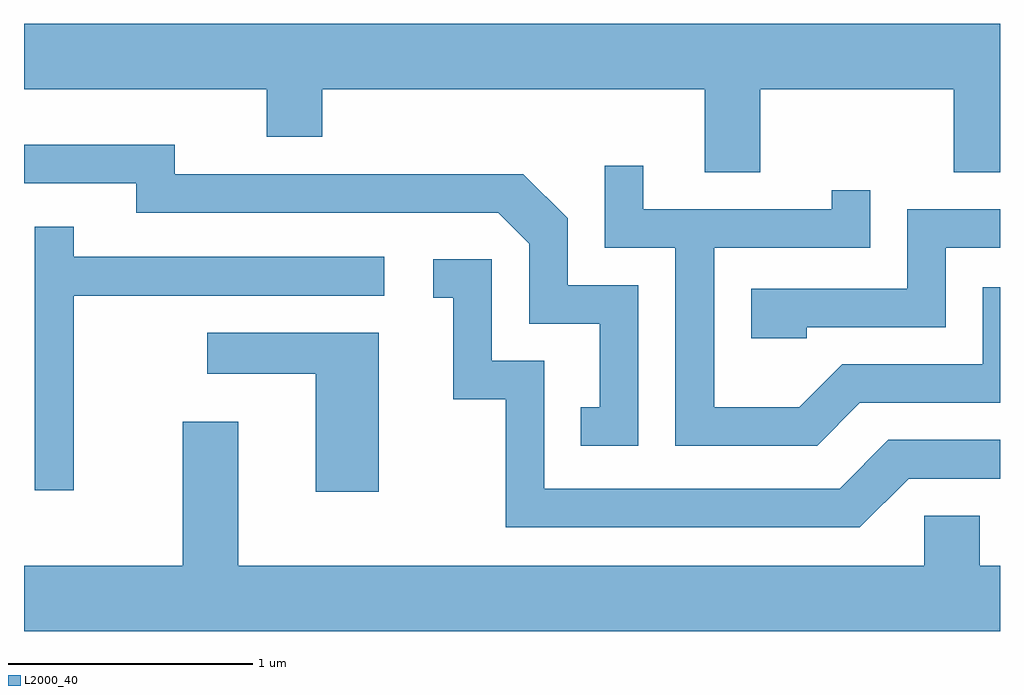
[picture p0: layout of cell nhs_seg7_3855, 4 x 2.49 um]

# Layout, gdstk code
import gdstk
lib = gdstk.Library(unit=1e-6, precision=1e-09)
def P(c, l, *ps):  # polygons
    for p in ps: c.add(gdstk.Polygon(p, *l))
L2000_40 = (2000, 40)

nhs_seg7_3855 = lib.new_cell('nhs_seg7_3855')
P(nhs_seg7_3855, L2000_40, [(306.629,1700.996),(307.421,1700.996),(307.421,1700.656),(307.611,1700.656),(307.611,1701.264),(303.611,1701.264),(303.611,1700.996),(304.606,1700.996),(304.606,1700.801),(304.834,1700.801),(304.834,1700.996),(306.401,1700.996),(306.401,1700.656),(306.629,1700.656)],
  [(306.129,1700.194),(305.839,1700.194),(305.839,1700.467),(305.657,1700.649),(304.229,1700.649),(304.229,1700.769),(303.611,1700.769),(303.611,1700.611),(304.071,1700.611),(304.071,1700.491),(305.554,1700.491),(305.681,1700.364),(305.681,1700.036),(305.971,1700.036),(305.971,1699.694),(305.893,1699.694),(305.893,1699.536),(306.129,1699.536)],
  [(307.037,1699.711),(307.611,1699.711),(307.611,1700.184),(307.541,1700.184),(307.541,1699.869),(306.964,1699.869),(306.789,1699.694),(306.439,1699.694),(306.439,1700.346),(307.079,1700.346),(307.079,1700.583),(306.921,1700.583),(306.921,1700.504),(306.149,1700.504),(306.149,1700.683),(305.991,1700.683),(305.991,1700.346),(306.281,1700.346),(306.281,1699.536),(306.862,1699.536)],
  [(306.819,1700.021),(307.389,1700.021),(307.389,1700.346),(307.611,1700.346),(307.611,1700.504),(307.231,1700.504),(307.231,1700.179),(306.591,1700.179),(306.591,1699.976),(306.819,1699.976)],
  [(303.814,1700.151),(305.088,1700.151),(305.088,1700.309),(303.814,1700.309),(303.814,1700.433),(303.656,1700.433),(303.656,1699.353),(303.814,1699.353)],
  [(307.237,1699.401),(307.611,1699.401),(307.611,1699.559),(307.154,1699.559),(306.954,1699.359),(305.744,1699.359),(305.744,1699.884),(305.529,1699.884),(305.529,1700.299),(305.288,1700.299),(305.288,1700.141),(305.371,1700.141),(305.371,1699.726),(305.586,1699.726),(305.586,1699.201),(307.037,1699.201)],
  [(305.064,1699.999),(304.363,1699.999),(304.363,1699.831),(304.806,1699.831),(304.806,1699.346),(305.064,1699.346)],
  [(307.611,1699.044),(307.529,1699.044),(307.529,1699.249),(307.301,1699.249),(307.301,1699.044),(304.489,1699.044),(304.489,1699.634),(304.261,1699.634),(304.261,1699.044),(303.611,1699.044),(303.611,1698.776),(307.611,1698.776)])

lib.write_gds('nhs_seg7_3855.gds')
